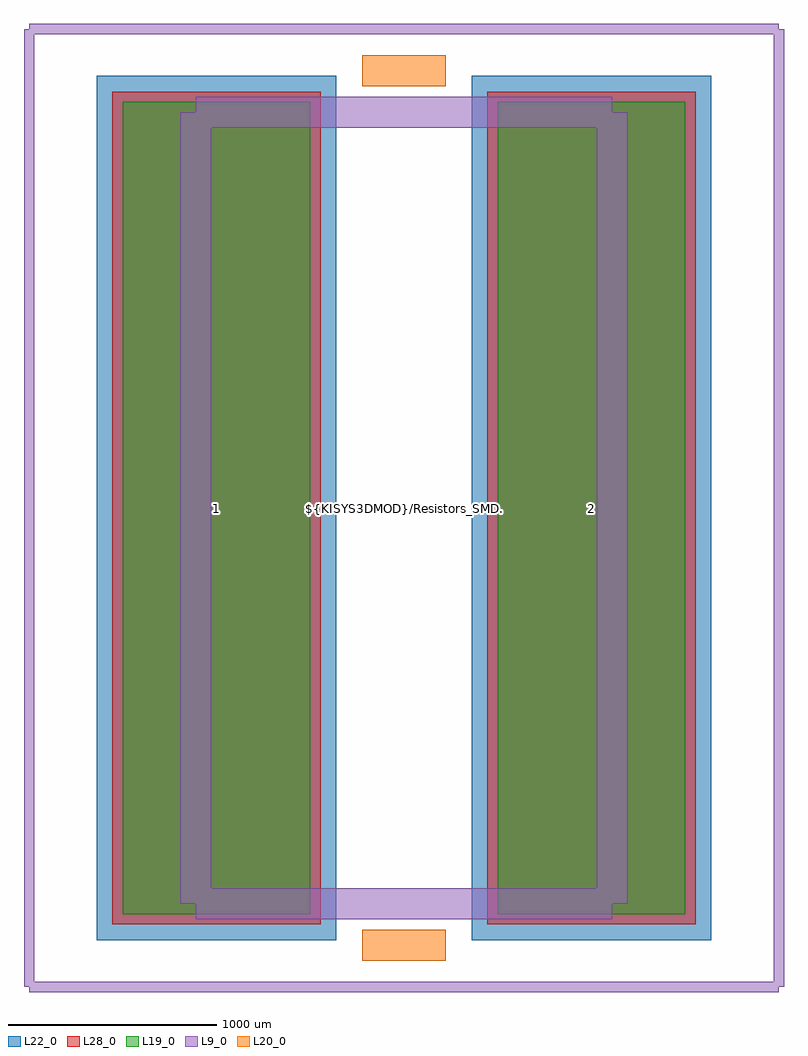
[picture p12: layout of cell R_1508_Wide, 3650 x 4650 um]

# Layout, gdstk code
import gdstk
lib = gdstk.Library(unit=1e-6, precision=1e-09)
def R(c, l, rs):  # rectangles x0, y0, x1, y1
    for r in rs: c.add(gdstk.rectangle(r[:2], r[2:], *l))
L9_0 = (9, 0)
L19_0 = (19, 0)
L20_0 = (20, 0)
L22_0 = (22, 0)
L28_0 = (28, 0)

r_1508_wide = lib.new_cell('R_1508_Wide')
R(r_1508_wide, L19_0, [(-1350,-1950,-450,1950), (450,-1950,1350,1950)])
R(r_1508_wide, L22_0, [(-1475,-2075,-325,2075), (325,-2075,1475,2075)])
R(r_1508_wide, L28_0, [(-1400,-2000,-400,2000), (400,-2000,1400,2000)])
r_1508_wide.add(gdstk.FlexPath([(-200,2100),(200,2100)], 149.998, ends="flush", simple_path=True, layer=20, datatype=0))  # L20_0
r_1508_wide.add(gdstk.FlexPath([(200,-2100),(-200,-2100)], 149.998, ends="flush", simple_path=True, layer=20, datatype=0))  # L20_0
r_1508_wide.add(gdstk.FlexPath([(1800,2300),(1800,-2300)], 50, ends="flush", simple_path=True, layer=9, datatype=0))  # L9_0
r_1508_wide.add(gdstk.FlexPath([(-1800,2300),(-1800,-2300)], 50, ends="flush", simple_path=True, layer=9, datatype=0))  # L9_0
r_1508_wide.add(gdstk.FlexPath([(-1800,-2300),(1800,-2300)], 50, ends="flush", simple_path=True, layer=9, datatype=0))  # L9_0
r_1508_wide.add(gdstk.FlexPath([(-1800,2300),(1800,2300)], 50, ends="flush", simple_path=True, layer=9, datatype=0))  # L9_0
r_1508_wide.add(gdstk.FlexPath([(-1000,1900),(1000,1900)], 149.998, ends="flush", simple_path=True, layer=9, datatype=0))  # L9_0
r_1508_wide.add(gdstk.FlexPath([(1000,1900),(1000,-1900)], 149.998, ends="flush", simple_path=True, layer=9, datatype=0))  # L9_0
r_1508_wide.add(gdstk.FlexPath([(1000,-1900),(-1000,-1900)], 149.998, ends="flush", simple_path=True, layer=9, datatype=0))  # L9_0
r_1508_wide.add(gdstk.FlexPath([(-1000,-1900),(-1000,1900)], 149.998, ends="flush", simple_path=True, layer=9, datatype=0))  # L9_0
r_1508_wide.add(gdstk.Label('${KISYS3DMOD}/Resistors_SMD.3dshapes/R_1508_Wide.wrl', (0,0), layer=12, texttype=0))
r_1508_wide.add(gdstk.Label('2', (900,0), layer=28, texttype=0))
r_1508_wide.add(gdstk.Label('1', (-900,0), layer=28, texttype=0))
r_1508_wide.add(gdstk.Label('type', (0,-3100), layer=9, texttype=0))
r_1508_wide.add(gdstk.Label('devicename', (0,3100), layer=9, texttype=0))

lib.write_gds('R_1508_Wide.gds')
